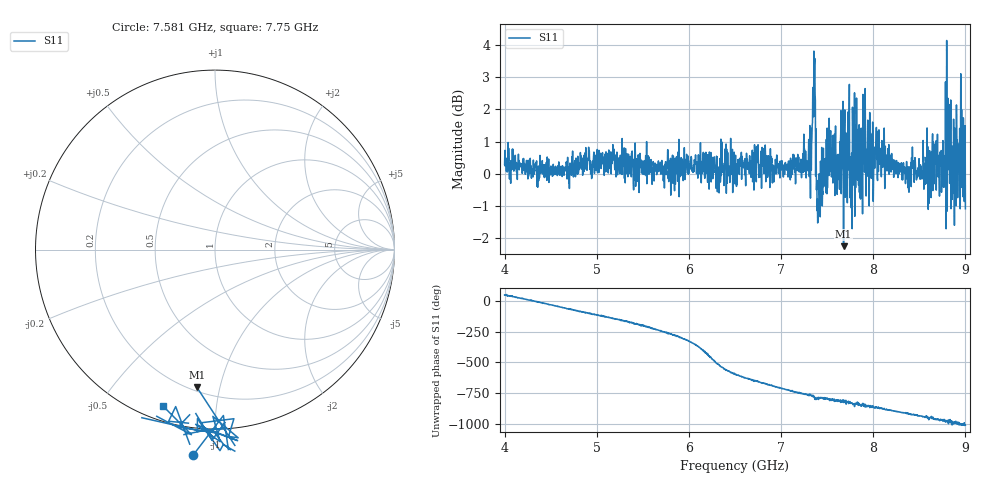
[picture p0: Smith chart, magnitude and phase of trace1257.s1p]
! Created with skrf 1.8.0 (http://scikit-rf.org).
# Hz S RI R 50.0
!freq ReS11 ImS11
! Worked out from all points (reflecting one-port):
!   1601 points, 4 GHz to 9 GHz, reference 50 ohm
!   lowest |S11| = -2.2 dB at 7.678 GHz (marker M1), VSWR 7.78, Z = 11.2 - j42.5 ohm
!   phase of S11 starts at 47 deg and turns -1055 deg over the sweep
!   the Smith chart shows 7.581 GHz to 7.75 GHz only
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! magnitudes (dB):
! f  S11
! 4 GHz  0.3
! 4.625 GHz  -0.1
! 5.25 GHz  0.0
! 5.875 GHz  0.4
! 6.5 GHz  -0.3
! 7.125 GHz  0.1
! 7.294 GHz  0.1
! 7.316 GHz  0.2
! 7.347 GHz  2.7
! 7.366 GHz  3.6
! 7.4 GHz  -1.5
! 7.412 GHz  0.0
! 7.516 GHz  0.5
! 7.609 GHz  -0.6
! 7.678 GHz  -2.2
! 7.75 GHz  -0.7
! 7.769 GHz  -0.6
! 7.8 GHz  -1.3
! 7.859 GHz  1.1
! 7.891 GHz  0.6
! 8.375 GHz  0.0
! 8.612 GHz  0.7
! 8.656 GHz  0.7
! 8.766 GHz  0.6
! 8.819 GHz  0.1
! 8.856 GHz  -0.8
! 8.972 GHz  0.1
! 9 GHz  -1.1
